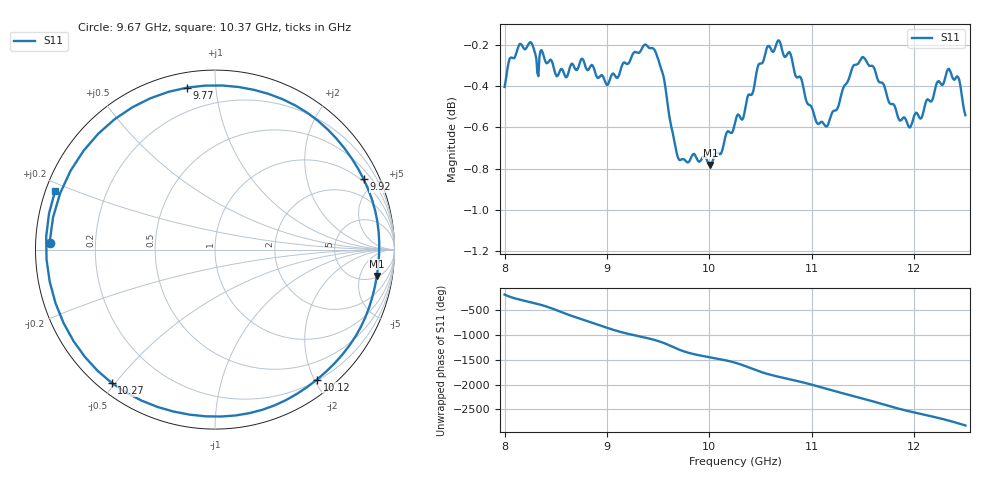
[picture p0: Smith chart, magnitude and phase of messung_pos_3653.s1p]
#  HZ  S  RI  R  50.00
! Rohde & Schwarz Vector Network Analyzer
! Rohde-Schwarz,ZNA43-4Port,1332450044101932,2.92
! Created: UTC 6/1/2026, 11:35:14 AM
! freq[Hz]  re:S11  im:S11
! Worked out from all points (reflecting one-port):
!   451 points, 8 GHz to 12.5 GHz, reference 50 ohm
!   lowest |S11| = -0.8 dB at 10.01 GHz (marker M1), VSWR 22.20, Z = 263 - j470 ohm
!   phase of S11 starts at -179 deg and turns -2645 deg over the sweep
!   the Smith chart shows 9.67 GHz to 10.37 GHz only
!   S11 on the Smith chart (normalised r, x): 9.67 GHz: 0.04, +0.02; 9.77 GHz: 0.07, +0.84; 9.92 GHz: 0.88, +4.29; 10.12 GHz: 0.21, -2.04; 10.27 GHz: 0.04, -0.49; 10.37 GHz: 0.03, +0.18
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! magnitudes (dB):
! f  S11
! 8 GHz  -0.4
! 8.15 GHz  -0.2
! 8.57 GHz  -0.3
! 8.76 GHz  -0.3
! 9 GHz  -0.4
! 9.13 GHz  -0.3
! 9.46 GHz  -0.2
! 9.55 GHz  -0.3
! 9.67 GHz  -0.7
! 9.69 GHz  -0.7
! 9.77 GHz  -0.8
! 9.92 GHz  -0.8
! 10.01 GHz  -0.8
! 10.12 GHz  -0.7
! 10.25 GHz  -0.6
! 10.27 GHz  -0.5
! 10.37 GHz  -0.5
! 10.57 GHz  -0.2
! 10.68 GHz  -0.2
! 10.82 GHz  -0.3
! 11.05 GHz  -0.6
! 11.14 GHz  -0.6
! 11.38 GHz  -0.3
! 11.51 GHz  -0.3
! 11.94 GHz  -0.6
! 12.34 GHz  -0.3
! 12.43 GHz  -0.4
! 12.5 GHz  -0.5
